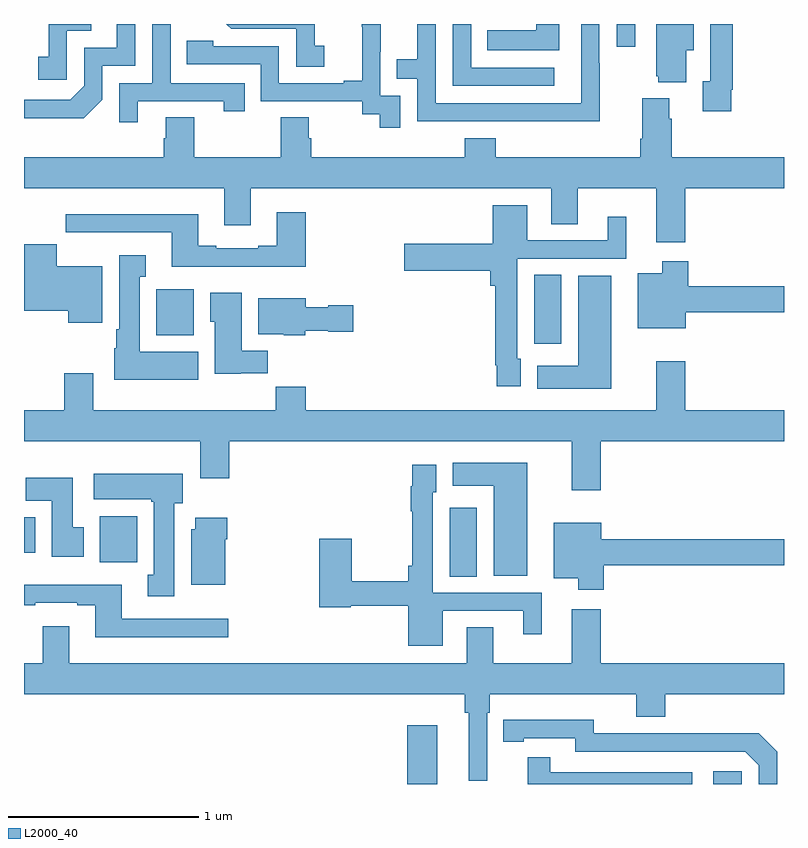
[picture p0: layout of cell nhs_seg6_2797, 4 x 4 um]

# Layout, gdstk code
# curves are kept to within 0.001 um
import gdstk
lib = gdstk.Library(unit=1e-6, precision=1e-09)
def R(c, l, rs):  # rectangles x0, y0, x1, y1
    for r in rs: c.add(gdstk.rectangle(r[:2], r[2:], *l))
def P(c, l, *ps):  # polygons
    for p in ps: c.add(gdstk.Polygon(p, *l))
L2000_40 = (2000, 40)

nhs_seg6_2797 = lib.new_cell('nhs_seg6_2797')
R(nhs_seg6_2797, L2000_40, [(277.016,977.5,277.174,977.809), (278.628,977.5,278.778,977.566), (277.241,978.592,277.384,978.955), (275.399,978.668,275.596,978.91), (275,978.716,275.059,978.904), (277.685,979.818,277.828,980.18), (275.696,979.862,275.893,980.104), (278.121,981.381,278.217,981.5)])
P(nhs_seg6_2797, L2000_40, [(278.485,981.362),(278.524,981.362),(278.524,981.5),(278.327,981.5),(278.327,981.225),(278.339,981.225),(278.339,981.194),(278.485,981.194)],
  [(277.792,981.27),(277.353,981.27),(277.353,981.5),(277.257,981.5),(277.257,981.174),(277.792,981.174)],
  [(277.816,981.5),(277.695,981.5),(277.695,981.466),(277.438,981.466),(277.438,981.362),(277.816,981.362)],
  [(275.412,981.102),(275.412,981.279),(275.586,981.279),(275.586,981.5),(275.489,981.5),(275.489,981.375),(275.316,981.375),(275.316,981.174),(275.244,981.102),(275,981.102),(275,981.005),(275.314,981.005)],
  [(276.58,981.385),(276.531,981.385),(276.531,981.5),(276.064,981.5),(276.09,981.474),(276.432,981.474),(276.432,981.276),(276.58,981.276)],
  [(276.981,981.123),(276.876,981.123),(276.876,981.353),(276.878,981.353),(276.878,981.5),(276.778,981.5),(276.778,981.485),(276.779,981.485),(276.779,981.202),(276.683,981.202),(276.683,981.189),(276.342,981.189),(276.342,981.384),(275.997,981.384),(275.997,981.411),(275.857,981.411),(275.857,981.288),(276.246,981.288),(276.246,981.093),(276.78,981.093),(276.78,981.025),(276.873,981.025),(276.873,980.955),(276.981,980.955)],
  [(275.226,981.465),(275.355,981.465),(275.355,981.5),(275.129,981.5),(275.129,981.327),(275.076,981.327),(275.076,981.207),(275.226,981.207)],
  [(278.031,981.293),(278.028,981.293),(278.028,981.5),(277.932,981.5),(277.932,981.084),(277.167,981.084),(277.167,981.5),(277.071,981.5),(277.071,981.314),(276.961,981.314),(276.961,981.213),(277.071,981.213),(277.071,980.988),(277.567,980.988),(277.567,980.987),(278.031,980.987)],
  [(278.722,981.154),(278.729,981.154),(278.729,981.5),(278.613,981.5),(278.613,981.198),(278.573,981.198),(278.573,981.042),(278.722,981.042)],
  [(275.599,981.093),(276.05,981.093),(276.05,981.042),(276.161,981.042),(276.161,981.189),(275.772,981.189),(275.772,981.5),(275.676,981.5),(275.676,981.189),(275.502,981.189),(275.502,980.982),(275.599,980.982)],
  [(278.48,980.636),(279,980.636),(279,980.8),(278.408,980.8),(278.408,981.002),(278.395,981.002),(278.395,981.109),(278.255,981.109),(278.255,980.896),(278.243,980.896),(278.243,980.8),(277.484,980.8),(277.484,980.899),(277.319,980.899),(277.319,980.8),(276.512,980.8),(276.512,980.898),(276.499,980.898),(276.499,981.008),(276.352,981.008),(276.352,980.8),(275.895,980.8),(275.895,981.008),(275.747,981.008),(275.747,980.898),(275.735,980.898),(275.735,980.8),(275,980.8),(275,980.636),(276.053,980.636),(276.053,980.442),(276.193,980.442),(276.193,980.636),(277.775,980.636),(277.775,980.446),(277.915,980.446),(277.915,980.636),(278.327,980.636),(278.327,980.352),(278.48,980.352)],
  [(277.615,979.737),(277.596,979.737),(277.596,980.265),(278.17,980.265),(278.17,980.485),(278.072,980.485),(278.072,980.361),(277.648,980.361),(277.648,980.545),(277.466,980.545),(277.466,980.343),(277.002,980.343),(277.002,980.201),(277.454,980.201),(277.454,980.123),(277.48,980.123),(277.48,979.705),(277.488,979.705),(277.488,979.593),(277.615,979.593)],
  [(276.482,980.509),(276.329,980.509),(276.329,980.332),(276.233,980.332),(276.233,980.319),(276.013,980.319),(276.013,980.332),(275.917,980.332),(275.917,980.5),(275.22,980.5),(275.22,980.405),(275.329,980.405),(275.329,980.403),(275.777,980.403),(275.777,980.222),(276.482,980.222)],
  [(275.413,980.224),(275.173,980.224),(275.173,980.34),(275,980.34),(275,979.991),(275.234,979.991),(275.234,979.928),(275.413,979.928)],
  [(275.917,979.774),(275.608,979.774),(275.608,980.171),(275.641,980.171),(275.641,980.284),(275.501,980.284),(275.501,979.894),(275.486,979.894),(275.486,979.794),(275.474,979.794),(275.474,979.628),(275.917,979.628)],
  [(278.482,979.984),(279,979.984),(279,980.12),(278.495,980.12),(278.495,980.251),(278.36,980.251),(278.36,980.188),(278.231,980.188),(278.231,979.898),(278.482,979.898)],
  [(278.092,980.176),(277.916,980.176),(277.916,979.702),(277.7,979.702),(277.7,979.58),(278.092,979.58)],
  [(276.141,979.662),(276.284,979.662),(276.284,979.78),(276.145,979.78),(276.145,980.086),(275.981,980.086),(275.981,979.932),(276.005,979.932),(276.005,979.658),(276.141,979.658)],
  [(276.48,979.886),(276.6,979.886),(276.6,979.879),(276.733,979.879),(276.733,980.021),(276.6,980.021),(276.6,980.008),(276.484,980.008),(276.484,980.056),(276.233,980.056),(276.233,979.868),(276.366,979.868),(276.366,979.862),(276.48,979.862)],
  [(278.036,979.304),(279,979.304),(279,979.468),(278.48,979.468),(278.48,979.726),(278.327,979.726),(278.327,979.468),(276.482,979.468),(276.482,979.592),(276.325,979.592),(276.325,979.468),(275.365,979.468),(275.365,979.663),(275.213,979.663),(275.213,979.468),(275,979.468),(275,979.304),(275.927,979.304),(275.927,979.11),(276.08,979.11),(276.08,979.304),(277.883,979.304),(277.883,979.047),(278.036,979.047)],
  [(277.648,979.192),(277.256,979.192),(277.256,979.07),(277.472,979.07),(277.472,978.596),(277.648,978.596)],
  [(277.204,978.411),(277.628,978.411),(277.628,978.288),(277.726,978.288),(277.726,978.507),(277.152,978.507),(277.152,979.035),(277.171,979.035),(277.171,979.18),(277.044,979.18),(277.044,979.067),(277.036,979.067),(277.036,978.935),(277.044,978.935),(277.044,978.649),(277.022,978.649),(277.022,978.566),(276.724,978.566),(276.724,978.79),(276.554,978.79),(276.554,978.43),(276.72,978.43),(276.72,978.438),(277.022,978.438),(277.022,978.227),(277.204,978.227)],
  [(275.791,978.978),(275.836,978.978),(275.836,979.132),(275.367,979.132),(275.367,978.998),(275.671,978.998),(275.671,978.985),(275.684,978.985),(275.684,978.602),(275.651,978.602),(275.651,978.489),(275.791,978.489)],
  [(275.314,978.852),(275.257,978.852),(275.257,979.111),(275.008,979.111),(275.008,978.992),(275.147,978.992),(275.147,978.696),(275.314,978.696)],
  [(276.058,978.788),(276.071,978.788),(276.071,978.901),(275.9,978.901),(275.9,978.84),(275.879,978.84),(275.879,978.548),(276.058,978.548)],
  [(278.051,978.652),(279,978.652),(279,978.788),(278.038,978.788),(278.038,978.874),(277.787,978.874),(277.787,978.584),(277.916,978.584),(277.916,978.522),(278.051,978.522)],
  [(276.076,978.369),(275.515,978.369),(275.515,978.55),(275,978.55),(275,978.441),(275.059,978.441),(275.059,978.453),(275.279,978.453),(275.279,978.441),(275.375,978.441),(275.375,978.272),(276.076,978.272)],
  [(277.437,977.876),(277.451,977.876),(277.451,977.972),(278.222,977.972),(278.222,977.855),(278.375,977.855),(278.375,977.972),(279,977.972),(279,978.136),(278.036,978.136),(278.036,978.421),(277.883,978.421),(277.883,978.136),(277.471,978.136),(277.471,978.326),(277.331,978.326),(277.331,978.136),(275.239,978.136),(275.239,978.331),(275.099,978.331),(275.099,978.136),(275,978.136),(275,977.972),(277.321,977.972),(277.321,977.876),(277.34,977.876),(277.34,977.517),(277.437,977.517)],
  [(278.964,977.67),(278.866,977.768),(278.458,977.768),(278.458,977.766),(277.998,977.766),(277.998,977.839),(277.522,977.838),(277.522,977.722),(277.63,977.722),(277.63,977.742),(277.902,977.742),(277.902,977.67),(278.796,977.67),(278.868,977.598),(278.868,977.5),(278.964,977.5)],
  [(278.518,977.562),(277.769,977.562),(277.769,977.641),(277.652,977.641),(277.652,977.5),(278.518,977.5)])

lib.write_gds('nhs_seg6_2797.gds')
